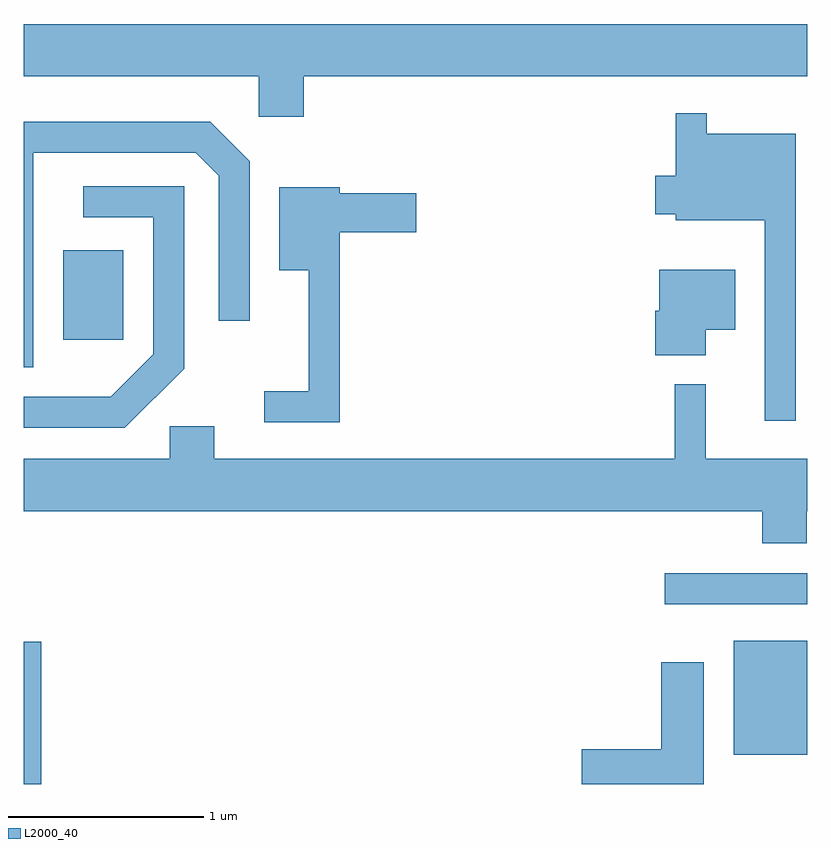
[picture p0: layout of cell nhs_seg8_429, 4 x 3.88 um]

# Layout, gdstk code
import gdstk
lib = gdstk.Library(unit=1e-6, precision=1e-09)
def R(c, l, rs):  # rectangles x0, y0, x1, y1
    for r in rs: c.add(gdstk.rectangle(r[:2], r[2:], *l))
def P(c, l, *ps):  # polygons
    for p in ps: c.add(gdstk.Polygon(p, *l))
L2000_40 = (2000, 40)

nhs_seg8_429 = lib.new_cell('nhs_seg8_429')
R(nhs_seg8_429, L2000_40, [(197.611,1848.342,197.699,1849.069), (201.236,1848.491,201.611,1849.074), (200.883,1849.261,201.611,1849.419), (197.811,1850.611,198.119,1851.069)])
P(nhs_seg8_429, L2000_40, [(199.039,1851.956),(201.611,1851.956),(201.611,1852.224),(197.611,1852.224),(197.611,1851.956),(198.811,1851.956),(198.811,1851.751),(199.039,1851.751)],
  [(201.554,1851.664),(201.099,1851.664),(201.099,1851.768),(200.941,1851.768),(200.941,1851.449),(200.836,1851.449),(200.836,1851.251),(200.941,1851.251),(200.941,1851.221),(201.396,1851.221),(201.396,1850.198),(201.554,1850.198)],
  [(197.659,1851.566),(198.489,1851.566),(198.606,1851.449),(198.606,1850.708),(198.764,1850.708),(198.764,1851.522),(198.562,1851.724),(197.611,1851.724),(197.611,1850.471),(197.659,1850.471)],
  [(198.429,1850.464),(198.429,1851.394),(197.913,1851.394),(197.913,1851.236),(198.271,1851.236),(198.271,1850.537),(198.054,1850.319),(197.611,1850.319),(197.611,1850.161),(198.127,1850.161)],
  [(199.224,1851.161),(199.614,1851.161),(199.614,1851.359),(199.224,1851.359),(199.224,1851.389),(198.916,1851.389),(198.916,1850.966),(199.066,1850.966),(199.066,1850.349),(198.838,1850.349),(198.838,1850.191),(199.224,1850.191)],
  [(201.094,1850.661),(201.244,1850.661),(201.244,1850.969),(200.856,1850.969),(200.856,1850.759),(200.836,1850.759),(200.836,1850.531),(201.094,1850.531)],
  [(201.609,1849.736),(201.611,1849.736),(201.611,1850.004),(201.094,1850.004),(201.094,1850.383),(200.936,1850.383),(200.936,1850.004),(198.584,1850.004),(198.584,1850.169),(198.356,1850.169),(198.356,1850.004),(197.611,1850.004),(197.611,1849.736),(201.381,1849.736),(201.381,1849.571),(201.609,1849.571)],
  [(201.084,1848.964),(200.866,1848.964),(200.866,1848.519),(200.461,1848.519),(200.461,1848.342),(201.084,1848.342)])

lib.write_gds('nhs_seg8_429.gds')
